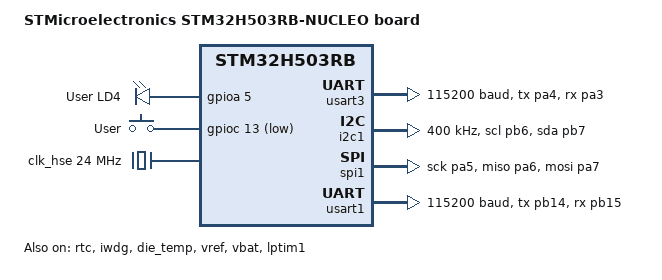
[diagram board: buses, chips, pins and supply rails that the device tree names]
/*
 * Copyright (c) 2019 Philippe Retornaz <philippe@shapescale.com>
 * Copyright (c) 2019 STMicroelectronics
 *
 * SPDX-License-Identifier: Apache-2.0
 */

/dts-v1/;
#include <st/h5/stm32h503Xb.dtsi>
#include <st/h5/stm32h503rbtx-pinctrl.dtsi>
#include "arduino_r3_connector.dtsi"
#include "st_morpho_connector.dtsi"
#include <zephyr/dt-bindings/input/input-event-codes.h>

/ {
	model = "STMicroelectronics STM32H503RB-NUCLEO board";
	compatible = "st,stm32h503rb-nucleo";

	chosen {
		zephyr,console = &usart3;
		zephyr,shell-uart = &usart3;
		zephyr,sram = &sram0;
		zephyr,flash = &flash0;
	};


	leds: leds {
		compatible = "gpio-leds";
		green_led_1: led_4 {
			gpios = <&gpioa 5 GPIO_ACTIVE_HIGH>;
			label = "User LD4";
		};
	};

	gpio_keys {
		compatible = "gpio-keys";
		user_button: button {
			label = "User";
			gpios = <&gpioc 13 GPIO_ACTIVE_LOW>;
			zephyr,code = <INPUT_KEY_0>;
		};
	};

	aliases {
		led0 = &green_led_1;
		sw0 = &user_button;
		watchdog0 = &iwdg;
		die-temp0 = &die_temp;
		volt-sensor0 = &vref;
		volt-sensor1 = &vbat;
	};

	soc {
		lptim1: timers@44004400 {
			compatible = "st,stm32-lptim";
			clocks = <&rcc STM32_CLOCK_BUS_APB3 0x800>;
			#address-cells = <1>;
			#size-cells = <0>;
			reg = <0x44004400 0x400>;
			interrupts = <64 1>;
			interrupt-names = "wakeup";
			status = "disabled";
		};
	};
};

&clk_hse {
	clock-frequency = <DT_FREQ_M(24)>; /* 24MHz crystal */
	status = "okay";
};

&clk_hsi48 {
	status = "okay";
};

&clk_lse {
	status = "okay";
};

&pll {
	div-m = <6>;
	mul-n = <120>;
	div-p = <2>;
	div-q = <2>;
	div-r = <2>;
	clocks = <&clk_hse>;
	status = "okay";
};

&rcc {
	clocks = <&pll>;
	clock-frequency = <DT_FREQ_M(240)>;
	ahb-prescaler = <1>;
	apb1-prescaler = <2>;
	apb2-prescaler = <1>;
	apb3-prescaler = <1>;
};

&usart3 {
	pinctrl-0 = <&usart3_tx_pa4 &usart3_rx_pa3>;
	pinctrl-names = "default";
	current-speed = <115200>;
	status = "okay";
};

&rtc {
	clocks = <&rcc STM32_CLOCK_BUS_APB1 0x00000400>,
		 <&rcc STM32_SRC_LSI RTC_SEL(2)>;
	status = "okay";
};

&iwdg {
	status = "okay";
};

&i2c1 {
	pinctrl-0 = <&i2c1_scl_pb6 &i2c1_sda_pb7>;
	pinctrl-names = "default";
	status = "okay";
	clock-frequency = <I2C_BITRATE_FAST>;
};

&spi1 {
	pinctrl-0 = <&spi1_sck_pa5 &spi1_miso_pa6
			&spi1_mosi_pa7>;
	pinctrl-names = "default";
	status = "okay";
};

&usart1 {
	pinctrl-0 = <&usart1_tx_pb14 &usart1_rx_pb15>;
	pinctrl-names = "default";
	current-speed = <115200>;
	status = "okay";
};

&die_temp {
	status = "okay";
};

&flash0 {
	partitions {
		compatible = "fixed-partitions";
		#address-cells = <1>;
		#size-cells = <1>;

		/* Set 2KB of storage at the end of 128KB flash */
		storage_partition: partition@1f800 {
			label = "storage";
			reg = <0x0001f800 DT_SIZE_K(2)>;
		};
	};
};

stm32_lp_tick_source: &lptim1 {
	clocks = <&rcc STM32_CLOCK_BUS_APB1 0x80000000>,
		 <&rcc STM32_SRC_LSI LPTIM1_SEL(4)>;
	status = "okay";
};

&vref {
	status = "okay";
};

&vbat {
	status = "okay";
};
